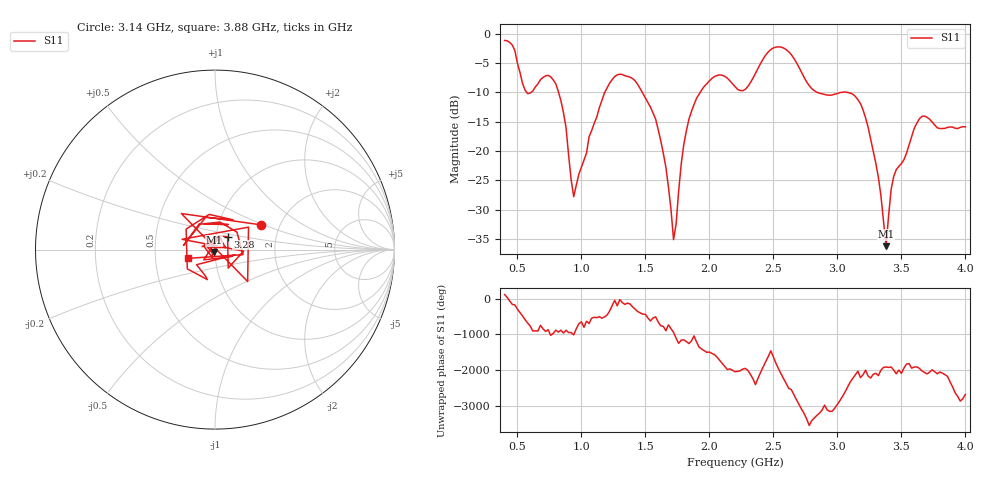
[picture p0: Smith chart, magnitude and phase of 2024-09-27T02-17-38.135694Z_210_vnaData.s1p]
!Created with skrf (http://scikit-rf.org).
# Hz S RI R 50.0
!freq ReS11 ImS11
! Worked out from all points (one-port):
!   181 points, 400 MHz to 4 GHz, reference 50 ohm
!   lowest |S11| = -36.2 dB at 3.38 GHz (marker M1), VSWR 1.03, Z = 49.5 - j1.45 ohm
!   |S11| at or under -10 dB: 821.6 MHz to 1.182 GHz (360.6 MHz wide, 36 % of centre); 1.476 GHz to 1.928 GHz (451.8 MHz wide, 26.6 % of centre); 3.078 GHz to end of sweep (the widest 3 of 5)
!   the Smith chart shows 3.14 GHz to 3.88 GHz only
!   S11 on the Smith chart (normalised r, x): 3.14 GHz: 1.61, +0.48; 3.28 GHz: 1.14, +0.17; 3.88 GHz: 0.73, -0.07
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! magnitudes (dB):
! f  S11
! 400 MHz  -1.1
! 480 MHz  -2.9
! 580 MHz  -10.2
! 740 MHz  -7.1
! 860 MHz  -13.5
! 940 MHz  -27.8
! 1.18 GHz  -10.1
! 1.3 GHz  -6.9
! 1.58 GHz  -14.6
! 1.66 GHz  -22.7
! 1.72 GHz  -35.1
! 1.76 GHz  -26.7
! 1.82 GHz  -16.6
! 1.9 GHz  -11.0
! 2.06 GHz  -7.1
! 2.2 GHz  -9.0
! 2.5 GHz  -2.4
! 2.66 GHz  -4.2
! 2.84 GHz  -10.0
! 3.1 GHz  -10.1
! 3.14 GHz  -10.7
! 3.28 GHz  -20.0
! 3.38 GHz  -36.2
! 3.44 GHz  -24.3
! 3.56 GHz  -18.9
! 3.66 GHz  -14.1
! 3.88 GHz  -15.9
! 4 GHz  -15.9
